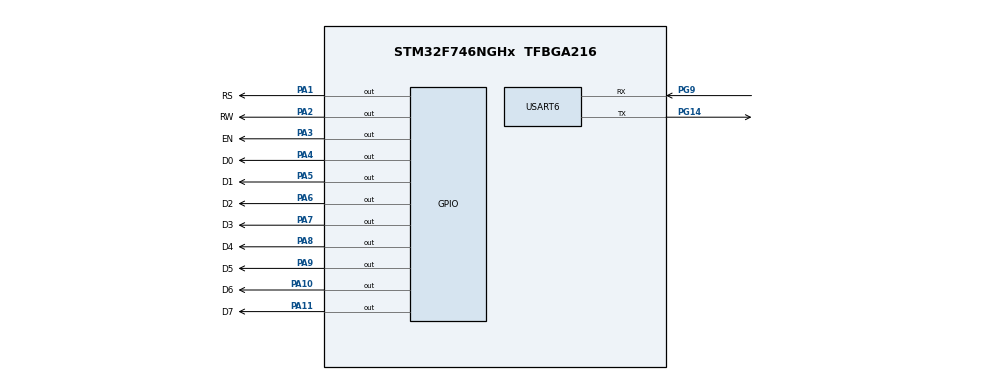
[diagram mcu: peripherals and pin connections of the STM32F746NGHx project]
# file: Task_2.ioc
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Mcu.Family=STM32F7
Mcu.Name=STM32F746NGHx
Mcu.Package=TFBGA216
NVIC.PriorityGroup=NVIC_PRIORITYGROUP_4
NVIC.USART6_IRQn=true\:0\:0\:false\:false\:true\:true\:true\:true
PA1.GPIO_Label=RS
PA1.Signal=GPIO_Output
PA10.GPIO_Label=D6
PA10.Signal=GPIO_Output
PA11.GPIO_Label=D7
PA11.Signal=GPIO_Output
PA2.GPIO_Label=RW
PA2.Signal=GPIO_Output
PA3.GPIO_Label=EN
PA3.Signal=GPIO_Output
PA4.GPIO_Label=D0
PA4.Signal=GPIO_Output
PA5.GPIO_Label=D1
PA5.Signal=GPIO_Output
PA6.GPIO_Label=D2
PA6.Signal=GPIO_Output
PA7.GPIO_Label=D3
PA7.Signal=GPIO_Output
PA8.GPIO_Label=D4
PA8.Signal=GPIO_Output
PA9.GPIO_Label=D5
PA9.Signal=GPIO_Output
PG14.Mode=Asynchronous
PG14.Signal=USART6_TX
PG9.Mode=Asynchronous
PG9.Signal=USART6_RX
PH0/OSC_IN.Mode=HSE-External-Oscillator
PH0/OSC_IN.Signal=RCC_OSC_IN
PH1/OSC_OUT.Mode=HSE-External-Oscillator
PH1/OSC_OUT.Signal=RCC_OSC_OUT
ProjectManager.HeapSize=0x200
ProjectManager.StackSize=0x400
ProjectManager.TargetToolchain=STM32CubeIDE
RCC.HSE_VALUE=25000000
RCC.HSI_VALUE=16000000
RCC.LSE_VALUE=32768
RCC.USBFreq_Value=96000000
RCC.VCOOutputFreq_Value=192000000
USART6.VirtualMode-Asynchronous=VM_ASYNC
board=custom

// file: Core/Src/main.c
/* USER CODE BEGIN Header */
/**
  ******************************************************************************
  * @file           : main.c
  * @brief          : Main program body
  ******************************************************************************
  * @attention
  *
  * Copyright (c) 2023 STMicroelectronics.
  * All rights reserved.
  *
  * This software is licensed under terms that can be found in the LICENSE file
  * in the root directory of this software component.
  * If no LICENSE file comes with this software, it is provided AS-IS.
  *
  ******************************************************************************
  */
/* USER CODE END Header */
#include "main.h"

/* USER CODE BEGIN Includes */
#include <string.h>
/* USER CODE END Includes */

/* USER CODE BEGIN PM */

#define DATA_PORT  GPIOA
#define E_PIN      EN_Pin
#define RS_PIN     RS_Pin
#define RW_PIN     RW_Pin

/* USER CODE END PM */

UART_HandleTypeDef huart6;

void SystemClock_Config(void);
static void MX_GPIO_Init(void);
static void MX_USART6_UART_Init(void);

/* USER CODE BEGIN 0 */

char  RxData[9] = {0};
char RxBuffer[32] = {0};
uint8_t rxIndex = 0;
uint32_t uartTick = 0;

//Variables for into to char converter
int index = 0;
char int_Ch[20];

void LCD_Cmd(uint8_t command)
{
    // Set RS and RW pins for command mode and write
    HAL_GPIO_WritePin(DATA_PORT, RS_PIN, GPIO_PIN_RESET); //Command Mode
    HAL_GPIO_WritePin(DATA_PORT, RW_PIN, GPIO_PIN_RESET); //Write Operation

    // Send the command to the data port
    HAL_GPIO_WritePin(DATA_PORT, 0xFF, command);

    // Toggle the Enable (E) pin to latch the command
    HAL_GPIO_WritePin(DATA_PORT, E_PIN, GPIO_PIN_SET);
    HAL_Delay(1);  // Adjust this delay as needed
    HAL_GPIO_WritePin(DATA_PORT, E_PIN, GPIO_PIN_RESET);
}

void LCD_Init (void)
{
    // LCD initialization commands
    HAL_Delay(40);  // Wait for LCD to power up

    // Function Set (8-bit, 2 lines, 5x8 font)
    LCD_Cmd(0x38);

    // Display On/Off Control (Display on, Cursor off, Blink off)
    LCD_Cmd(0x0C);

    // Clear Display
    LCD_Cmd(0x01);

    // Entry Mode Set (Increment cursor position, no display shift)
    LCD_Cmd(0x06);
}

//Function for the LCD data to the send by the user.
void LCD_Print(char* text)
{
    // Set RS and RW pins for data mode and write
    HAL_GPIO_WritePin(DATA_PORT, RS_PIN, GPIO_PIN_SET);
    HAL_GPIO_WritePin(DATA_PORT, RW_PIN, GPIO_PIN_RESET);

    // Loop through the characters in the text
    while (*text)
    {
        // Send the character to the data port
        HAL_GPIO_WritePin(DATA_PORT, 0xFF, *text);

        // Toggle the Enable (E) pin to latch the data
        HAL_GPIO_WritePin(DATA_PORT, E_PIN, GPIO_PIN_SET);
        HAL_Delay(1);  // Adjust this delay as needed
        HAL_GPIO_WritePin(DATA_PORT, E_PIN, GPIO_PIN_RESET);

        text++;
    }

}

//Function to convert the int value to the char value

void int_to_char(int num)
{
    while(num)
    {
        int temp = num % 10;
        int_Ch[index] = temp + 48;
        index++;
        num = num / 10;
    }
    for(int i=(index -1); i >= 0; i--)
    {
        printf("%c", int_Ch[i]);
    }
}

void LCD_Print_Int(int num)
{
	char chBuffer[32];

	sprintf(chBuffer,"%d",num);

    // Set RS and RW pins for data mode and write
    HAL_GPIO_WritePin(DATA_PORT, RS_PIN, GPIO_PIN_SET);
    HAL_GPIO_WritePin(DATA_PORT, RW_PIN, GPIO_PIN_RESET);

    while (*chBuffer)
    {
        // Send the character to the data port
        HAL_GPIO_WritePin(DATA_PORT, 0xFF, *chBuffer);

        // Toggle the Enable (E) pin to latch the data
        HAL_GPIO_WritePin(DATA_PORT, E_PIN, GPIO_PIN_SET);
        HAL_Delay(1);  // Adjust this delay as needed
        HAL_GPIO_WritePin(DATA_PORT, E_PIN, GPIO_PIN_RESET);

    }

}

void HAL_UART_RxCpltCallback(UART_HandleTypeDef *huart)
{
	uartTick = HAL_GetTick();

	RxBuffer[rxIndex] = RxData[0];
	rxIndex++;

	//clear the data when data size is greater than 32 bytes.
	if(rxIndex >= 32)
	{
		LCD_Print("SIZE OF DATA IS");
		LCD_Cmd(0xC1);     //command to move the cursor to next line.
		LCD_Print("   LARGE   ");
		RxBuffer[32] = 0;
		rxIndex = 0;
	}

	HAL_UART_Receive_IT(&huart6,&RxData,1);  //Receiving the data from the user byte by byte.
}

/* USER CODE END 0 */

int main(void)
{

  /* MCU Configuration--------------------------------------------------------*/

  /* Reset of all peripherals, Initializes the Flash interface and the Systick. */
  HAL_Init();

  /* USER CODE BEGIN Init */
  LCD_Init();
  /* USER CODE END Init */

  /* Configure the system clock */
  SystemClock_Config();

  /* Initialize all configured peripherals */
  MX_GPIO_Init();
  MX_USART6_UART_Init();
  /* USER CODE BEGIN 2 */

  LCD_Print("  WELCOME  TO  ");
  LCD_Cmd(0xC1);
  LCD_Print("AMM DEMO PROJECT");
  LCD_Print_Int(123456);
  HAL_UART_Receive_IT(&huart6, RxData, 1);

  /* USER CODE END 2 */

  /* Infinite loop */
  while (1)
  {

    /* USER CODE BEGIN 3 */
		if((HAL_GetTick() - uartTick) > 10)
		{
			LCD_Print(*RxBuffer);

			memset(RxBuffer,'\0', 50);
			rxIndex = 0;
		}
  }
  /* USER CODE END 3 */
}

void SystemClock_Config(void)
{
  RCC_OscInitTypeDef RCC_OscInitStruct = {0};
  RCC_ClkInitTypeDef RCC_ClkInitStruct = {0};

  /** Configure the main internal regulator output voltage
  */
  __HAL_RCC_PWR_CLK_ENABLE();
  __HAL_PWR_VOLTAGESCALING_CONFIG(PWR_REGULATOR_VOLTAGE_SCALE3);

  /** Initializes the RCC Oscillators according to the specified parameters
  * in the RCC_OscInitTypeDef structure.
  */
  RCC_OscInitStruct.OscillatorType = RCC_OSCILLATORTYPE_HSI;
  RCC_OscInitStruct.HSIState = RCC_HSI_ON;
  RCC_OscInitStruct.HSICalibrationValue = RCC_HSICALIBRATION_DEFAULT;
  RCC_OscInitStruct.PLL.PLLState = RCC_PLL_NONE;
  if (HAL_RCC_OscConfig(&RCC_OscInitStruct) != HAL_OK)
  {
    Error_Handler();
  }

  /** Initializes the CPU, AHB and APB buses clocks
  */
  RCC_ClkInitStruct.ClockType = RCC_CLOCKTYPE_HCLK|RCC_CLOCKTYPE_SYSCLK
                              |RCC_CLOCKTYPE_PCLK1|RCC_CLOCKTYPE_PCLK2;
  RCC_ClkInitStruct.SYSCLKSource = RCC_SYSCLKSOURCE_HSI;
  RCC_ClkInitStruct.AHBCLKDivider = RCC_SYSCLK_DIV1;
  RCC_ClkInitStruct.APB1CLKDivider = RCC_HCLK_DIV1;
  RCC_ClkInitStruct.APB2CLKDivider = RCC_HCLK_DIV1;

  if (HAL_RCC_ClockConfig(&RCC_ClkInitStruct, FLASH_LATENCY_0) != HAL_OK)
  {
    Error_Handler();
  }
}

static void MX_USART6_UART_Init(void)
{

  huart6.Instance = USART6;
  huart6.Init.BaudRate = 115200;
  huart6.Init.WordLength = UART_WORDLENGTH_8B;
  huart6.Init.StopBits = UART_STOPBITS_1;
  huart6.Init.Parity = UART_PARITY_NONE;
  huart6.Init.Mode = UART_MODE_TX_RX;
  huart6.Init.HwFlowCtl = UART_HWCONTROL_NONE;
  huart6.Init.OverSampling = UART_OVERSAMPLING_16;
  huart6.Init.OneBitSampling = UART_ONE_BIT_SAMPLE_DISABLE;
  huart6.AdvancedInit.AdvFeatureInit = UART_ADVFEATURE_NO_INIT;
  if (HAL_UART_Init(&huart6) != HAL_OK)
  {
    Error_Handler();
  }

}

static void MX_GPIO_Init(void)
{
  GPIO_InitTypeDef GPIO_InitStruct = {0};

  /* GPIO Ports Clock Enable */
  __HAL_RCC_GPIOG_CLK_ENABLE();
  __HAL_RCC_GPIOA_CLK_ENABLE();
  __HAL_RCC_GPIOH_CLK_ENABLE();

  /*Configure GPIO pin Output Level */
  HAL_GPIO_WritePin(GPIOA, D7_Pin|D6_Pin|D5_Pin|D4_Pin
                          |RS_Pin|D0_Pin|RW_Pin|D2_Pin
                          |D1_Pin|EN_Pin|D3_Pin, GPIO_PIN_RESET);

  /*Configure GPIO pins : D7_Pin D6_Pin D5_Pin D4_Pin
                           RS_Pin D0_Pin RW_Pin D2_Pin
                           D1_Pin EN_Pin D3_Pin */
  GPIO_InitStruct.Pin = D7_Pin|D6_Pin|D5_Pin|D4_Pin
                          |RS_Pin|D0_Pin|RW_Pin|D2_Pin
                          |D1_Pin|EN_Pin|D3_Pin;
  GPIO_InitStruct.Mode = GPIO_MODE_OUTPUT_PP;
  GPIO_InitStruct.Pull = GPIO_NOPULL;
  GPIO_InitStruct.Speed = GPIO_SPEED_FREQ_LOW;
  HAL_GPIO_Init(GPIOA, &GPIO_InitStruct);

}

void Error_Handler(void)
{
  __disable_irq();
  while (1)
  {
  }
}
